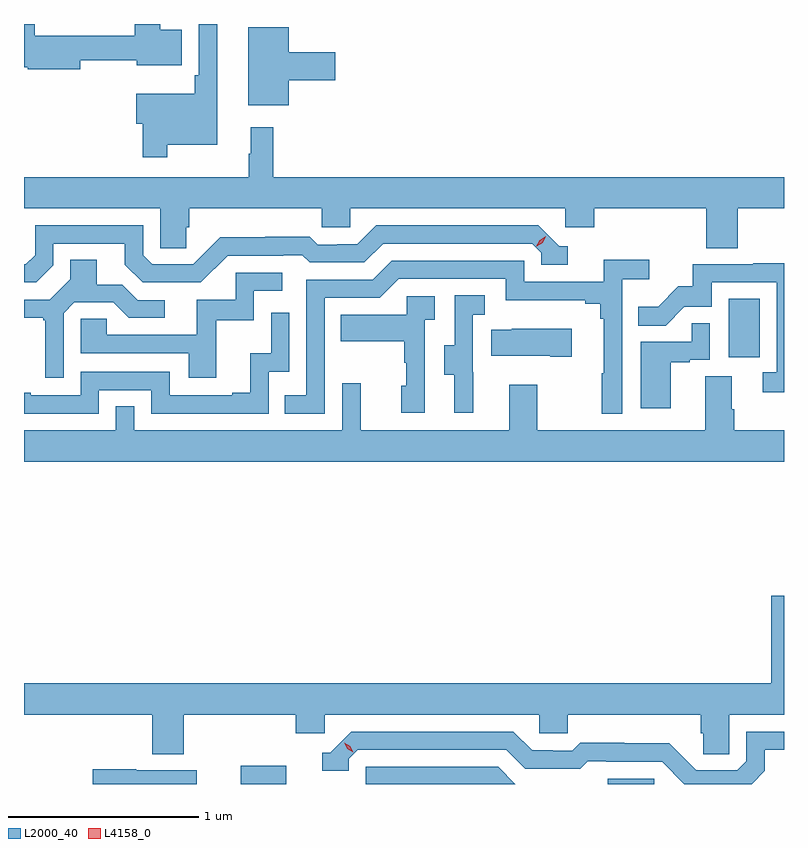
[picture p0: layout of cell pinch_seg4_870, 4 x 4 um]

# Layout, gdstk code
import gdstk
lib = gdstk.Library(unit=1e-6, precision=1e-09)
def R(c, l, rs):  # rectangles x0, y0, x1, y1
    for r in rs: c.add(gdstk.rectangle(r[:2], r[2:], *l))
def P(c, l, *ps):  # polygons
    for p in ps: c.add(gdstk.Polygon(p, *l))
L2000_40 = (2000, 40)
L4158_0 = (4158, 0)

pinch_seg4_870 = lib.new_cell('pinch_seg4_870')
R(pinch_seg4_870, L2000_40, [(841.227,801.783,841.466,801.878), (843.159,801.783,843.402,801.81), (843.794,804.03,843.958,804.337)])
P(pinch_seg4_870, L2000_40, [(840.841,805.148),(841.102,805.148),(841.102,805.783),(841.005,805.783),(841.005,805.513),(840.985,805.513),(840.985,805.417),(840.678,805.417),(840.678,805.259),(840.712,805.259),(840.712,805.083),(840.841,805.083)],
  [(840.382,805.591),(840.68,805.591),(840.68,805.565),(840.916,805.565),(840.916,805.753),(840.802,805.753),(840.802,805.783),(840.668,805.783),(840.668,805.72),(840.143,805.72),(840.143,805.783),(840.086,805.783),(840.086,805.556),(840.106,805.556),(840.106,805.544),(840.382,805.544)],
  [(841.48,805.487),(841.723,805.487),(841.723,805.634),(841.48,805.634),(841.48,805.765),(841.265,805.765),(841.265,805.355),(841.48,805.355)],
  [(841.653,804.714),(841.803,804.714),(841.803,804.812),(842.934,804.812),(842.934,804.714),(843.086,804.714),(843.086,804.812),(843.677,804.812),(843.677,804.604),(843.842,804.604),(843.842,804.812),(844.086,804.812),(844.086,804.976),(841.397,804.976),(841.397,805.24),(841.28,805.24),(841.28,805.1),(841.269,805.1),(841.269,804.976),(840.086,804.976),(840.086,804.812),(840.804,804.812),(840.804,804.604),(840.941,804.604),(840.941,804.714),(840.956,804.714),(840.956,804.812),(841.653,804.812)],
  [(840.24,804.513),(840.24,804.627),(840.617,804.627),(840.617,804.517),(840.711,804.423),(841.017,804.423),(841.158,804.564),(841.451,804.564),(841.451,804.567),(841.55,804.567),(841.589,804.528),(841.878,804.528),(841.977,804.627),(842.76,804.627),(842.808,804.579),(842.808,804.516),(842.947,804.516),(842.947,804.612),(842.904,804.612),(842.793,804.723),(841.94,804.723),(841.841,804.624),(841.734,804.624),(841.734,804.621),(841.631,804.621),(841.589,804.664),(841.356,804.664),(841.356,804.661),(841.12,804.661),(840.978,804.519),(840.762,804.519),(840.714,804.567),(840.714,804.723),(840.144,804.723),(840.144,804.567),(840.096,804.519),(840.086,804.519),(840.086,804.423),(840.15,804.423)],
  [(840.294,804.261),(840.351,804.318),(840.557,804.318),(840.638,804.237),(840.826,804.237),(840.826,804.33),(840.684,804.33),(840.604,804.41),(840.469,804.41),(840.469,804.542),(840.329,804.542),(840.329,804.44),(840.222,804.333),(840.086,804.333),(840.086,804.236),(840.186,804.236),(840.186,804.225),(840.197,804.225),(840.197,803.922),(840.294,803.922)],
  [(841.668,804.342),(841.959,804.342),(842.058,804.441),(842.622,804.441),(842.622,804.329),(843.041,804.329),(843.041,804.31),(843.118,804.31),(843.118,804.233),(843.137,804.233),(843.137,803.945),(843.126,803.945),(843.126,803.733),(843.234,803.733),(843.234,804.44),(843.376,804.44),(843.376,804.542),(843.137,804.542),(843.137,804.426),(842.718,804.426),(842.718,804.537),(842.021,804.537),(841.922,804.438),(841.572,804.438),(841.572,803.829),(841.459,803.829),(841.459,803.733),(841.668,803.733)],
  [(844.086,804.524),(843.925,804.524),(843.925,804.519),(843.607,804.519),(843.607,804.402),(843.53,804.402),(843.423,804.295),(843.319,804.295),(843.319,804.196),(843.463,804.196),(843.561,804.294),(843.705,804.294),(843.705,804.423),(844.047,804.423),(844.047,803.949),(843.975,803.949),(843.975,803.844),(844.086,803.844)],
  [(841.097,804.225),(841.296,804.225),(841.296,804.378),(841.444,804.378),(841.444,804.474),(841.2,804.474),(841.2,804.333),(840.995,804.333),(840.995,804.147),(840.521,804.147),(840.521,804.231),(840.384,804.231),(840.384,804.051),(840.953,804.051),(840.953,803.922),(841.097,803.922)],
  [(842.45,803.949),(842.448,803.949),(842.448,804.253),(842.512,804.253),(842.512,804.356),(842.352,804.356),(842.352,804.093),(842.297,804.093),(842.297,803.938),(842.351,803.938),(842.351,803.736),(842.45,803.736)],
  [(842.196,804.227),(842.248,804.227),(842.248,804.351),(842.1,804.351),(842.1,804.253),(841.753,804.253),(841.753,804.113),(842.088,804.113),(842.088,803.999),(842.098,803.999),(842.098,803.88),(842.072,803.88),(842.072,803.736),(842.196,803.736)],
  [(840.48,803.856),(840.756,803.856),(840.756,803.733),(841.374,803.733),(841.374,803.952),(841.482,803.952),(841.482,804.262),(841.386,804.262),(841.386,804.05),(841.277,804.05),(841.277,803.842),(841.181,803.842),(841.181,803.829),(840.852,803.829),(840.852,803.952),(840.384,803.952),(840.384,803.829),(840.121,803.829),(840.121,803.842),(840.086,803.842),(840.086,803.733),(840.48,803.733)],
  [(843.49,804.003),(843.59,804.003),(843.59,804.015),(843.696,804.015),(843.696,804.209),(843.601,804.209),(843.601,804.111),(843.332,804.111),(843.332,803.76),(843.49,803.76)],
  [(842.968,804.178),(842.653,804.178),(842.653,804.175),(842.545,804.175),(842.545,804.038),(842.855,804.038),(842.855,804.031),(842.968,804.031)],
  [(844.086,803.644),(843.824,803.644),(843.824,803.756),(843.811,803.756),(843.811,803.93),(843.671,803.93),(843.671,803.644),(842.787,803.644),(842.787,803.884),(842.639,803.884),(842.639,803.644),(841.859,803.644),(841.859,803.893),(841.761,803.893),(841.761,803.644),(840.666,803.644),(840.666,803.771),(840.57,803.771),(840.57,803.644),(840.086,803.644),(840.086,803.48),(844.086,803.48)],
  [(840.926,802.148),(841.517,802.148),(841.517,802.05),(841.668,802.05),(841.668,802.148),(842.799,802.148),(842.799,802.05),(842.949,802.05),(842.949,802.148),(843.647,802.148),(843.647,802.05),(843.661,802.05),(843.661,801.94),(843.798,801.94),(843.798,802.148),(844.086,802.148),(844.086,802.774),(844.019,802.774),(844.019,802.312),(840.086,802.312),(840.086,802.148),(840.761,802.148),(840.761,801.94),(840.926,801.94)],
  [(843.985,801.853),(843.985,801.963),(844.086,801.963),(844.086,802.059),(843.888,802.059),(843.888,801.903),(843.84,801.855),(843.624,801.855),(843.482,801.997),(843.246,801.997),(843.246,802),(843.013,802),(842.971,801.957),(842.868,801.957),(842.868,801.96),(842.761,801.96),(842.662,802.059),(841.809,802.059),(841.698,801.948),(841.655,801.948),(841.655,801.852),(841.794,801.852),(841.794,801.915),(841.842,801.963),(842.625,801.963),(842.724,801.864),(843.013,801.864),(843.052,801.903),(843.151,801.903),(843.151,801.9),(843.444,801.9),(843.561,801.783),(843.915,801.783)],
  [(842.581,801.873),(841.884,801.873),(841.884,801.783),(842.671,801.783)],
  [(840.996,801.855),(840.677,801.855),(840.677,801.86),(840.447,801.86),(840.447,801.783),(840.996,801.783)])
P(pinch_seg4_870, L4158_0, [(841.818,801.949),(841.787,801.968),(841.771,802.001),(841.771,802.001),(841.771,802.001),(841.802,801.982),(841.818,801.95),(841.818,801.949)],
  [(842.783,804.613),(842.783,804.614),(842.8,804.646),(842.831,804.665),(842.831,804.665),(842.831,804.665),(842.815,804.632),(842.784,804.613)])

lib.write_gds('pinch_seg4_870.gds')
